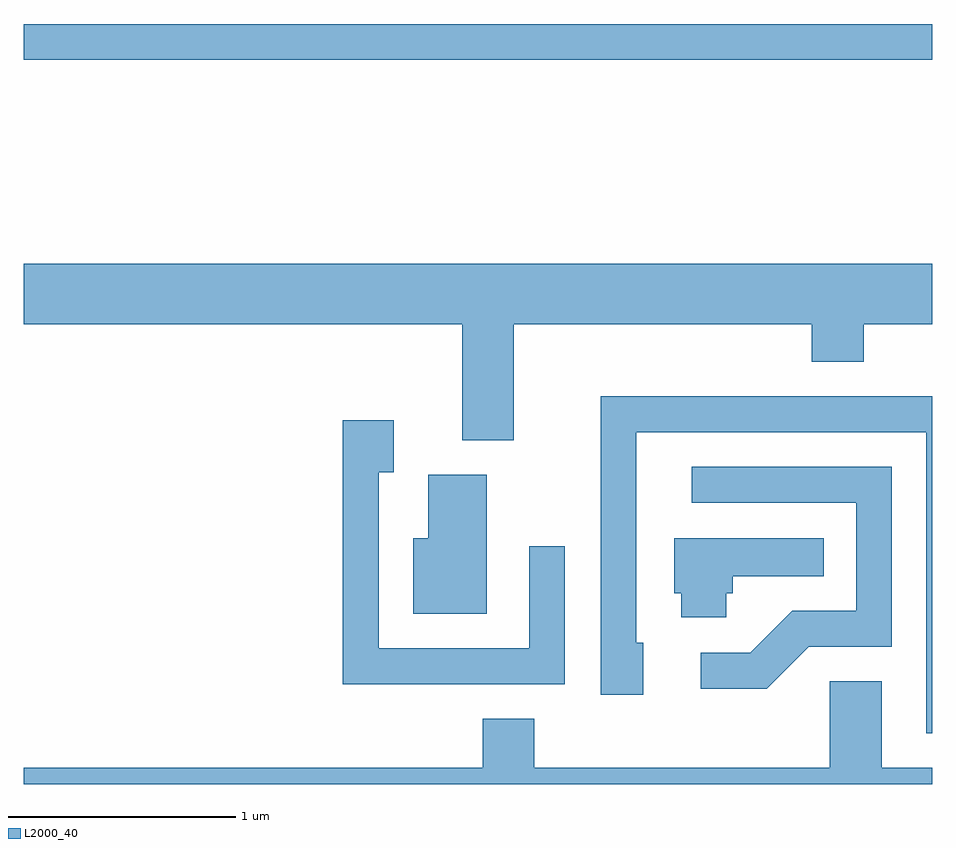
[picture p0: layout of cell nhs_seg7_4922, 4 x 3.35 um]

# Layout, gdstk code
import gdstk
lib = gdstk.Library(unit=1e-6, precision=1e-09)
def R(c, l, rs):  # rectangles x0, y0, x1, y1
    for r in rs: c.add(gdstk.rectangle(r[:2], r[2:], *l))
def P(c, l, *ps):  # polygons
    for p in ps: c.add(gdstk.Polygon(p, *l))
L2000_40 = (2000, 40)

nhs_seg7_4922 = lib.new_cell('nhs_seg7_4922')
R(nhs_seg7_4922, L2000_40, [(335.611,1755.441,339.611,1755.599)])
P(nhs_seg7_4922, L2000_40, [(337.769,1754.276),(339.081,1754.276),(339.081,1754.111),(339.309,1754.111),(339.309,1754.276),(339.611,1754.276),(339.611,1754.544),(335.611,1754.544),(335.611,1754.276),(337.541,1754.276),(337.541,1753.766),(337.769,1753.766)],
  [(339.611,1753.959),(338.151,1753.959),(338.151,1752.646),(338.339,1752.646),(338.339,1752.874),(338.309,1752.874),(338.309,1753.801),(339.586,1753.801),(339.586,1752.476),(339.611,1752.476)],
  [(337.994,1753.298),(337.836,1753.298),(337.836,1752.849),(337.174,1752.849),(337.174,1753.626),(337.239,1753.626),(337.239,1753.854),(337.016,1753.854),(337.016,1752.691),(337.994,1752.691)],
  [(339.067,1752.856),(339.434,1752.856),(339.434,1753.649),(338.553,1753.649),(338.553,1753.491),(339.276,1753.491),(339.276,1753.014),(338.994,1753.014),(338.809,1752.829),(338.593,1752.829),(338.593,1752.671),(338.882,1752.671)],
  [(337.649,1753.614),(337.391,1753.614),(337.391,1753.334),(337.326,1753.334),(337.326,1753.001),(337.649,1753.001)],
  [(338.704,1753.091),(338.734,1753.091),(338.734,1753.166),(339.133,1753.166),(339.133,1753.334),(338.476,1753.334),(338.476,1753.091),(338.506,1753.091),(338.506,1752.986),(338.704,1752.986)],
  [(339.611,1752.324),(339.389,1752.324),(339.389,1752.704),(339.161,1752.704),(339.161,1752.324),(337.859,1752.324),(337.859,1752.539),(337.631,1752.539),(337.631,1752.324),(335.611,1752.324),(335.611,1752.252),(339.611,1752.252)])

lib.write_gds('nhs_seg7_4922.gds')
